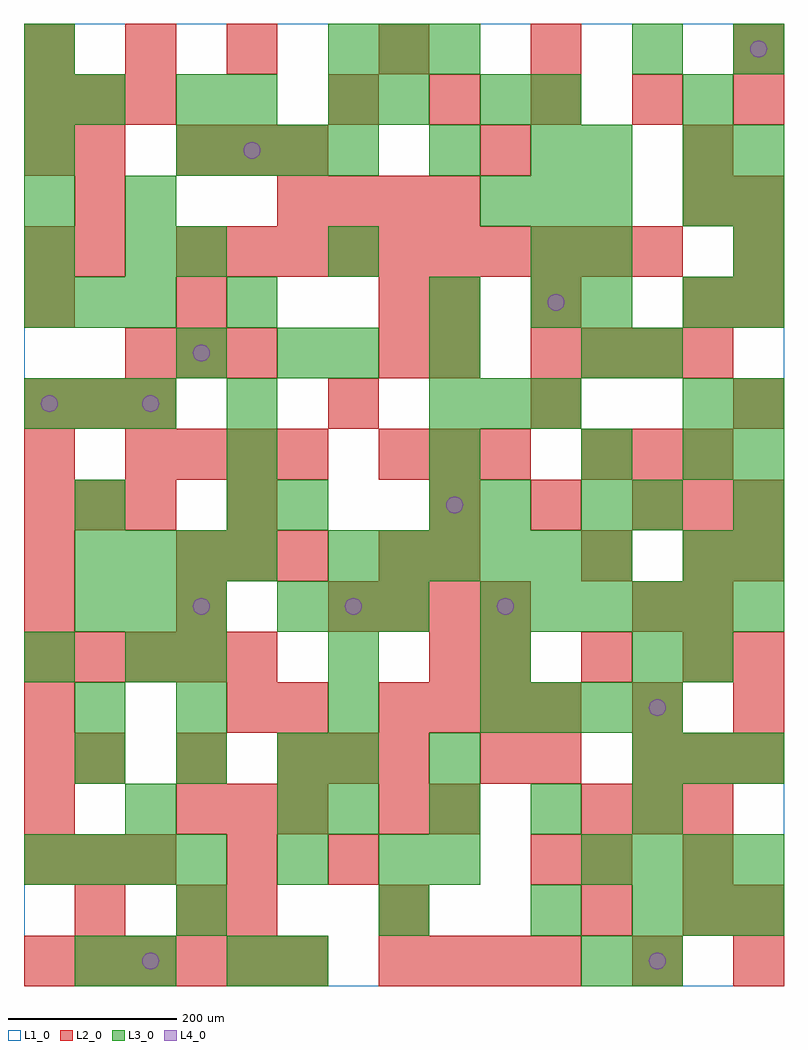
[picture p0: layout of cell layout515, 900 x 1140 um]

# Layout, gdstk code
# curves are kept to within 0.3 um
import gdstk
lib = gdstk.Library(unit=1e-6, precision=1e-09)
def R(c, l, rs):  # rectangles x0, y0, x1, y1
    for r in rs: c.add(gdstk.rectangle(r[:2], r[2:], *l))
def A(c, l, x, y, w, h, nx, ny, dx, dy):  # array of equal rectangles
    R(c, l, [(x+i*dx, y+j*dy, x+i*dx+w, y+j*dy+h) for i in range(nx) for j in range(ny)])
def P(c, l, *ps):  # polygons
    for p in ps: c.add(gdstk.Polygon(p, *l))
L1_0 = (1, 0)
L2_0 = (2, 0)
L3_0 = (3, 0)
L4_0 = (4, 0)

layout515 = lib.new_cell('layout515')
R(layout515, L1_0, [(0,0,900,1140)])
A(layout515, L2_0, 0, 0, 60, 60, 6, 1, 60, 0)
A(layout515, L2_0, 420, 0, 60, 60, 4, 2, 60, 300)
A(layout515, L2_0, 0, 120, 60, 60, 3, 2, 60, 420)
A(layout515, L2_0, 0, 180, 60, 60, 1, 3, 0, 60)
A(layout515, L2_0, 180, 180, 60, 60, 3, 2, 60, 300)
A(layout515, L2_0, 660, 180, 60, 60, 3, 2, 60, 420)
A(layout515, L2_0, 60, 240, 60, 60, 3, 1, 120, 0)
A(layout515, L2_0, 420, 240, 60, 60, 1, 3, 0, 240)
A(layout515, L2_0, 720, 240, 60, 60, 3, 1, 60, 0)
A(layout515, L2_0, 0, 360, 60, 60, 5, 1, 60, 0)
A(layout515, L2_0, 540, 360, 60, 60, 3, 1, 120, 0)
A(layout515, L2_0, 0, 420, 60, 60, 3, 1, 180, 0)
A(layout515, L2_0, 420, 420, 60, 60, 3, 2, 60, 180)
A(layout515, L2_0, 780, 420, 60, 60, 1, 3, 0, 60)
A(layout515, L2_0, 480, 540, 60, 60, 3, 1, 120, 0)
A(layout515, L2_0, 120, 600, 60, 60, 4, 1, 60, 0)
A(layout515, L2_0, 0, 660, 60, 60, 3, 2, 60, 360)
A(layout515, L2_0, 360, 660, 60, 60, 3, 1, 240, 0)
A(layout515, L2_0, 120, 720, 60, 60, 3, 1, 60, 0)
A(layout515, L2_0, 600, 720, 60, 60, 4, 1, 60, 0)
A(layout515, L2_0, 840, 780, 60, 60, 1, 3, 0, 60)
A(layout515, L2_0, 60, 840, 60, 60, 1, 3, 0, 60)
A(layout515, L2_0, 180, 840, 60, 60, 10, 1, 60, 0)
A(layout515, L2_0, 300, 900, 60, 60, 4, 1, 60, 0)
A(layout515, L2_0, 180, 960, 60, 60, 3, 1, 60, 0)
A(layout515, L2_0, 360, 1020, 60, 60, 5, 1, 120, 0)
A(layout515, L2_0, 0, 1080, 60, 60, 3, 1, 120, 0)
R(layout515, L2_0, [(720,0,780,60), (840,0,900,60), (60,60,120,120), (180,60,240,120), (240,60,300,120), (420,60,480,120), (660,60,720,120), (780,60,840,120), (840,60,900,120), (240,120,300,180), (360,120,420,180), (600,120,660,180), (660,120,720,180), (780,120,840,180), (420,180,480,240), (480,180,540,240), (360,240,420,300), (540,240,600,300), (600,240,660,300), (240,300,300,360), (300,300,360,360), (720,300,780,360), (840,300,900,360), (480,360,540,420), (840,360,900,420), (720,420,780,480), (0,480,60,540), (480,480,540,540), (660,480,720,540), (840,480,900,540), (240,540,300,600), (840,540,900,600), (0,600,60,660), (480,720,540,780), (0,780,60,840), (180,780,240,840), (420,780,480,840), (480,780,540,840), (600,780,660,840), (780,780,840,840), (0,840,60,900), (780,900,840,960), (0,960,60,1020), (540,960,600,1020), (780,960,840,1020), (420,1080,480,1140), (600,1080,660,1140), (840,1080,900,1140)])
A(layout515, L3_0, 120, 0, 60, 60, 1, 3, 0, 180)
A(layout515, L3_0, 720, 60, 60, 60, 3, 2, 60, 180)
A(layout515, L3_0, 0, 120, 60, 60, 4, 1, 60, 0)
A(layout515, L3_0, 660, 120, 60, 60, 4, 1, 60, 0)
A(layout515, L3_0, 360, 180, 60, 60, 4, 1, 120, 0)
A(layout515, L3_0, 60, 240, 60, 60, 3, 1, 120, 0)
A(layout515, L3_0, 180, 300, 60, 60, 3, 1, 180, 0)
A(layout515, L3_0, 600, 300, 60, 60, 3, 1, 60, 0)
A(layout515, L3_0, 180, 360, 60, 60, 4, 1, 180, 0)
A(layout515, L3_0, 780, 360, 60, 60, 1, 3, 0, 120)
A(layout515, L3_0, 60, 420, 60, 60, 3, 1, 60, 0)
A(layout515, L3_0, 300, 420, 60, 60, 3, 1, 60, 0)
A(layout515, L3_0, 540, 420, 60, 60, 6, 1, 60, 0)
A(layout515, L3_0, 60, 480, 60, 60, 4, 1, 60, 0)
A(layout515, L3_0, 360, 480, 60, 60, 6, 1, 60, 0)
A(layout515, L3_0, 840, 480, 60, 60, 1, 4, 0, 60)
A(layout515, L3_0, 240, 540, 60, 60, 1, 3, 0, 60)
A(layout515, L3_0, 0, 660, 60, 60, 3, 2, 60, 120)
A(layout515, L3_0, 480, 660, 60, 60, 3, 1, 60, 0)
A(layout515, L3_0, 780, 660, 60, 60, 1, 3, 0, 120)
A(layout515, L3_0, 660, 720, 60, 60, 1, 3, 0, 60)
A(layout515, L3_0, 840, 780, 60, 60, 1, 4, 0, 60)
A(layout515, L3_0, 0, 840, 60, 60, 1, 5, 0, 60)
A(layout515, L3_0, 540, 900, 60, 60, 3, 1, 60, 0)
A(layout515, L3_0, 180, 960, 60, 60, 4, 1, 60, 0)
A(layout515, L3_0, 360, 1080, 60, 60, 3, 1, 60, 0)
R(layout515, L3_0, [(60,0,120,60), (240,0,300,60), (300,0,360,60), (660,0,720,60), (720,0,780,60), (180,60,240,120), (420,60,480,120), (600,60,660,120), (300,120,360,180), (420,120,480,180), (480,120,540,180), (300,180,360,240), (360,240,420,300), (480,240,540,300), (60,300,120,360), (0,360,60,420), (60,540,120,600), (300,540,360,600), (480,540,540,600), (540,540,600,600), (660,540,720,600), (720,540,780,600), (480,600,540,660), (660,600,720,660), (180,720,240,780), (300,720,360,780), (360,720,420,780), (480,720,540,780), (720,720,780,780), (240,780,300,840), (480,780,540,840), (600,780,660,840), (120,840,180,900), (180,840,240,900), (360,840,420,900), (600,840,660,900), (120,900,180,960), (480,960,540,1020), (600,960,660,1020), (660,960,720,1020), (780,960,840,1020), (60,1020,120,1080), (180,1020,240,1080), (240,1020,300,1080), (360,1020,420,1080), (420,1020,480,1080), (540,1020,600,1080), (600,1020,660,1080), (780,1020,840,1080), (720,1080,780,1140), (840,1080,900,1140)])
P(layout515, L4_0, [(40,690),(39.239,693.827),(37.071,697.071),(33.827,699.239),(30,700),(26.173,699.239),(22.929,697.071),(20.761,693.827),(20,690),(20.761,686.173),(22.929,682.929),(26.173,680.761),(30,680),(33.827,680.761),(37.071,682.929),(39.239,686.173)],
  [(160,30),(159.239,33.827),(157.071,37.071),(153.827,39.239),(150,40),(146.173,39.239),(142.929,37.071),(140.761,33.827),(140,30),(140.761,26.173),(142.929,22.929),(146.173,20.761),(150,20),(153.827,20.761),(157.071,22.929),(159.239,26.173)],
  [(160,690),(159.239,693.827),(157.071,697.071),(153.827,699.239),(150,700),(146.173,699.239),(142.929,697.071),(140.761,693.827),(140,690),(140.761,686.173),(142.929,682.929),(146.173,680.761),(150,680),(153.827,680.761),(157.071,682.929),(159.239,686.173)],
  [(220,450),(219.239,453.827),(217.071,457.071),(213.827,459.239),(210,460),(206.173,459.239),(202.929,457.071),(200.761,453.827),(200,450),(200.761,446.173),(202.929,442.929),(206.173,440.761),(210,440),(213.827,440.761),(217.071,442.929),(219.239,446.173)],
  [(220,750),(219.239,753.827),(217.071,757.071),(213.827,759.239),(210,760),(206.173,759.239),(202.929,757.071),(200.761,753.827),(200,750),(200.761,746.173),(202.929,742.929),(206.173,740.761),(210,740),(213.827,740.761),(217.071,742.929),(219.239,746.173)],
  [(280,990),(279.239,993.827),(277.071,997.071),(273.827,999.239),(270,1000),(266.173,999.239),(262.929,997.071),(260.761,993.827),(260,990),(260.761,986.173),(262.929,982.929),(266.173,980.761),(270,980),(273.827,980.761),(277.071,982.929),(279.239,986.173)],
  [(400,450),(399.239,453.827),(397.071,457.071),(393.827,459.239),(390,460),(386.173,459.239),(382.929,457.071),(380.761,453.827),(380,450),(380.761,446.173),(382.929,442.929),(386.173,440.761),(390,440),(393.827,440.761),(397.071,442.929),(399.239,446.173)],
  [(520,570),(519.239,573.827),(517.071,577.071),(513.827,579.239),(510,580),(506.173,579.239),(502.929,577.071),(500.761,573.827),(500,570),(500.761,566.173),(502.929,562.929),(506.173,560.761),(510,560),(513.827,560.761),(517.071,562.929),(519.239,566.173)],
  [(580,450),(579.239,453.827),(577.071,457.071),(573.827,459.239),(570,460),(566.173,459.239),(562.929,457.071),(560.761,453.827),(560,450),(560.761,446.173),(562.929,442.929),(566.173,440.761),(570,440),(573.827,440.761),(577.071,442.929),(579.239,446.173)],
  [(640,810),(639.239,813.827),(637.071,817.071),(633.827,819.239),(630,820),(626.173,819.239),(622.929,817.071),(620.761,813.827),(620,810),(620.761,806.173),(622.929,802.929),(626.173,800.761),(630,800),(633.827,800.761),(637.071,802.929),(639.239,806.173)],
  [(760,30),(759.239,33.827),(757.071,37.071),(753.827,39.239),(750,40),(746.173,39.239),(742.929,37.071),(740.761,33.827),(740,30),(740.761,26.173),(742.929,22.929),(746.173,20.761),(750,20),(753.827,20.761),(757.071,22.929),(759.239,26.173)],
  [(760,330),(759.239,333.827),(757.071,337.071),(753.827,339.239),(750,340),(746.173,339.239),(742.929,337.071),(740.761,333.827),(740,330),(740.761,326.173),(742.929,322.929),(746.173,320.761),(750,320),(753.827,320.761),(757.071,322.929),(759.239,326.173)],
  [(880,1110),(879.239,1113.827),(877.071,1117.071),(873.827,1119.239),(870,1120),(866.173,1119.239),(862.929,1117.071),(860.761,1113.827),(860,1110),(860.761,1106.173),(862.929,1102.929),(866.173,1100.761),(870,1100),(873.827,1100.761),(877.071,1102.929),(879.239,1106.173)])

lib.write_gds('layout515.gds')
